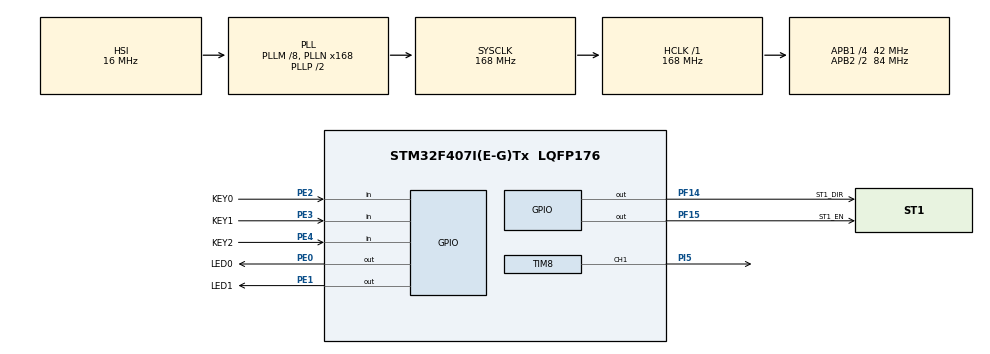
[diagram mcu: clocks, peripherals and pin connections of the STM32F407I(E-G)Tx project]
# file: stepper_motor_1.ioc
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Mcu.Family=STM32F4
Mcu.Name=STM32F407I(E-G)Tx
Mcu.Package=LQFP176
NVIC.PriorityGroup=NVIC_PRIORITYGROUP_4
PA13.Mode=Serial_Wire
PA13.Signal=SYS_JTMS-SWDIO
PA14.Mode=Serial_Wire
PA14.Signal=SYS_JTCK-SWCLK
PE0.GPIO_Label=LED0
PE0.PinState=GPIO_PIN_SET
PE0.Signal=GPIO_Output
PE1.GPIO_Label=LED1
PE1.PinState=GPIO_PIN_SET
PE1.Signal=GPIO_Output
PE2.GPIO_Label=KEY0
PE2.GPIO_PuPd=GPIO_PULLUP
PE2.Signal=GPIO_Input
PE3.GPIO_Label=KEY1
PE3.GPIO_PuPd=GPIO_PULLUP
PE3.Signal=GPIO_Input
PE4.GPIO_Label=KEY2
PE4.GPIO_PuPd=GPIO_PULLUP
PE4.Signal=GPIO_Input
PF14.GPIO_Label=ST1_DIR
PF14.GPIO_Speed=GPIO_SPEED_FREQ_LOW
PF14.PinState=GPIO_PIN_SET
PF14.Signal=GPIO_Output
PF15.GPIO_Label=ST1_EN
PF15.PinState=GPIO_PIN_SET
PF15.Signal=GPIO_Output
PH0-OSC_IN.Mode=HSE-External-Oscillator
PH0-OSC_IN.Signal=RCC_OSC_IN
PH1-OSC_OUT.Mode=HSE-External-Oscillator
PH1-OSC_OUT.Signal=RCC_OSC_OUT
PI5.Signal=S_TIM8_CH1
ProjectManager.HeapSize=0x200
ProjectManager.StackSize=0x400
ProjectManager.TargetToolchain=MDK-ARM V5.32
RCC.48MHZClocksFreq_Value=84000000
RCC.AHBFreq_Value=168000000
RCC.APB1CLKDivider=RCC_HCLK_DIV4
RCC.APB1Freq_Value=42000000
RCC.APB1TimFreq_Value=84000000
RCC.APB2CLKDivider=RCC_HCLK_DIV2
RCC.APB2Freq_Value=84000000
RCC.APB2TimFreq_Value=168000000
RCC.CortexFreq_Value=168000000
RCC.HCLKFreq_Value=168000000
RCC.HSE_VALUE=25000000
RCC.HSI_VALUE=16000000
RCC.LSE_VALUE=32768
RCC.PLLM=8
RCC.PLLN=168
RCC.SYSCLKFreq_VALUE=168000000
RCC.SYSCLKSource=RCC_SYSCLKSOURCE_PLLCLK
RCC.VCOOutputFreq_Value=336000000
SH.S_TIM8_CH1.0=TIM8_CH1,PWM Generation1 CH1
TIM8.Channel-PWM\ Generation1\ CH1=TIM_CHANNEL_1
TIM8.OCMode_PWM-PWM\ Generation1\ CH1=TIM_OCMODE_PWM2
TIM8.Period=99
TIM8.Prescaler=3359
board=custom

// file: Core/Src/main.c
/* USER CODE BEGIN Header */
/**
 ******************************************************************************
 * @file           : main.c
 * @brief          : Main program body
 ******************************************************************************
 * @attention
 *
 * Copyright (c) 2025 STMicroelectronics.
 * All rights reserved.
 *
 * This software is licensed under terms that can be found in the LICENSE file
 * in the root directory of this software component.
 * If no LICENSE file comes with this software, it is provided AS-IS.
 *
 ******************************************************************************
 */
/* USER CODE END Header */
#include "main.h"
#include "tim.h"
#include "gpio.h"

/* USER CODE BEGIN Includes */
#include "key_led.h"
#include "stepper_motor.h"
/* USER CODE END Includes */

void SystemClock_Config(void);

int main(void)
{

  /* MCU Configuration--------------------------------------------------------*/

  /* Reset of all peripherals, Initializes the Flash interface and the Systick. */
  HAL_Init();

  /* Configure the system clock */
  SystemClock_Config();

  /* Initialize all configured peripherals */
  MX_GPIO_Init();
  MX_TIM8_Init();
  /* USER CODE BEGIN 2 */
  KEY_Init();
  LED_Init();

  /* USER CODE END 2 */

  /* Infinite loop */
  /* USER CODE BEGIN WHILE */
  KeyPressedID key_id = KEY_NONE_PRESS;

  uint8_t speed_gear = 0;                             // 速度挡位，0-低速，1-中速，2-高速
  StepperDir current_dir = STEPPER_DIR_CW;            // 步进电机的旋转方向，cw为顺时针，ccw为逆时针
  StepperEnableState current_enable = STEPPER_ENABLE; // 步进电机的使能状态，enable为使能，disable为禁用
  uint16_t speed_table[3] = {100, 400, 1000};
  while (1)
  {
    key_id = KEY_Scan();
    if (key_id == KEY0_PRESS) // 调速按键被按下
    {
      // 调速的操作
      if(current_enable == STEPPER_ENABLE){
        if(speed_gear > 2){
          speed_gear = 2;
        }
        Stepper_SetSpeed(STEPPER_1, speed_table[speed_gear]);
        speed_gear++;
        if(speed_gear > 2){
          speed_gear = 0;
        }
      }
    }
    else if (key_id == KEY1_PRESS) // 旋转方向按键被按下
    {
      // 旋转方向的操作
      current_dir = current_dir == STEPPER_DIR_CW ? STEPPER_DIR_CCW : STEPPER_DIR_CW;
      Stepper_SetDir(STEPPER_1, current_dir);
      // 用LED0标识方向，cw亮、ccw熄灭
      if(current_dir == STEPPER_DIR_CW){
        LED_On(LED0_Pin);
      }
      else{
        LED_Off(LED0_Pin);
      }
    }
    else if (key_id == KEY2_PRESS) // 步进Enable按键被按下
    {
      // 步进Enable的操作
      current_enable = current_enable == STEPPER_ENABLE ? STEPPER_DISABLE : STEPPER_ENABLE;
      Stepper_SetEnable(STEPPER_1, current_enable);
      // 用LED1标识步进Enable，enable亮、disable熄灭
      if (current_enable == STEPPER_ENABLE)
      {
        LED_On(LED1_Pin);
      }
      else
      {
        LED_Off(LED1_Pin);
      }
    }
    /* USER CODE END WHILE */

  }
}

void SystemClock_Config(void)
{
  RCC_OscInitTypeDef RCC_OscInitStruct = {0};
  RCC_ClkInitTypeDef RCC_ClkInitStruct = {0};

  /** Configure the main internal regulator output voltage
   */
  __HAL_RCC_PWR_CLK_ENABLE();
  __HAL_PWR_VOLTAGESCALING_CONFIG(PWR_REGULATOR_VOLTAGE_SCALE1);

  /** Initializes the RCC Oscillators according to the specified parameters
   * in the RCC_OscInitTypeDef structure.
   */
  RCC_OscInitStruct.OscillatorType = RCC_OSCILLATORTYPE_HSI;
  RCC_OscInitStruct.HSIState = RCC_HSI_ON;
  RCC_OscInitStruct.HSICalibrationValue = RCC_HSICALIBRATION_DEFAULT;
  RCC_OscInitStruct.PLL.PLLState = RCC_PLL_ON;
  RCC_OscInitStruct.PLL.PLLSource = RCC_PLLSOURCE_HSI;
  RCC_OscInitStruct.PLL.PLLM = 8;
  RCC_OscInitStruct.PLL.PLLN = 168;
  RCC_OscInitStruct.PLL.PLLP = RCC_PLLP_DIV2;
  RCC_OscInitStruct.PLL.PLLQ = 4;
  if (HAL_RCC_OscConfig(&RCC_OscInitStruct) != HAL_OK)
  {
    Error_Handler();
  }

  /** Initializes the CPU, AHB and APB buses clocks
   */
  RCC_ClkInitStruct.ClockType = RCC_CLOCKTYPE_HCLK | RCC_CLOCKTYPE_SYSCLK | RCC_CLOCKTYPE_PCLK1 | RCC_CLOCKTYPE_PCLK2;
  RCC_ClkInitStruct.SYSCLKSource = RCC_SYSCLKSOURCE_PLLCLK;
  RCC_ClkInitStruct.AHBCLKDivider = RCC_SYSCLK_DIV1;
  RCC_ClkInitStruct.APB1CLKDivider = RCC_HCLK_DIV4;
  RCC_ClkInitStruct.APB2CLKDivider = RCC_HCLK_DIV2;

  if (HAL_RCC_ClockConfig(&RCC_ClkInitStruct, FLASH_LATENCY_5) != HAL_OK)
  {
    Error_Handler();
  }
}

void Error_Handler(void)
{
  __disable_irq();
  while (1)
  {
  }
}
